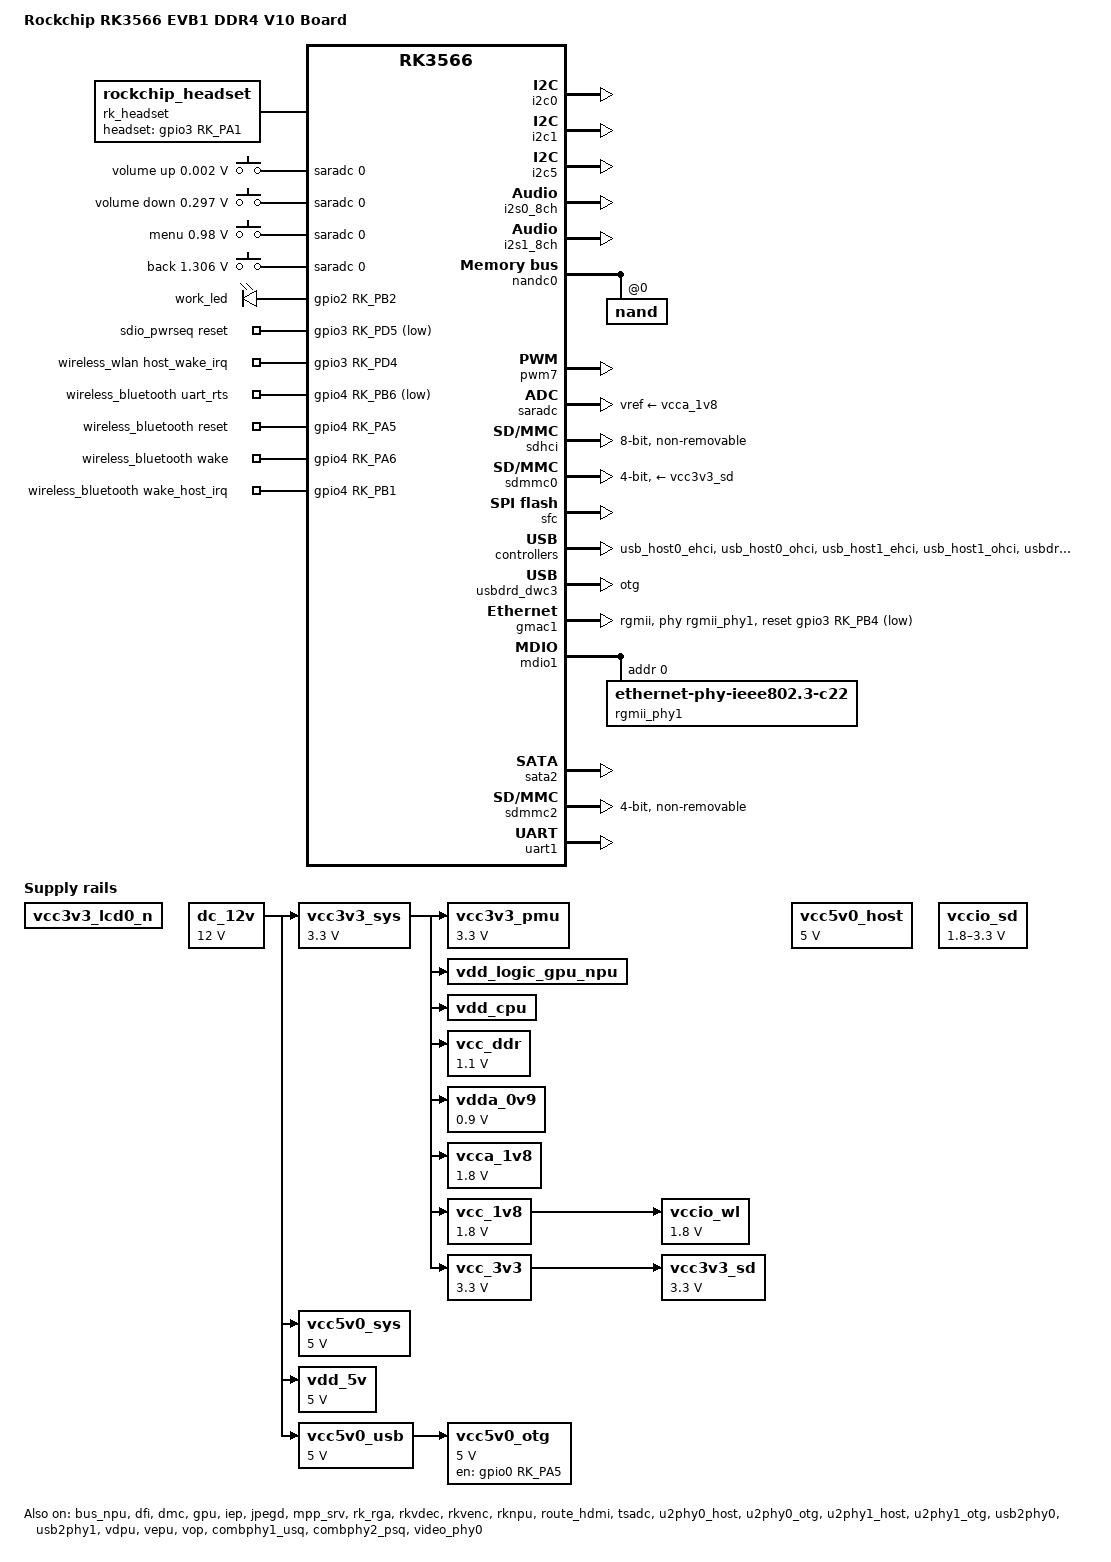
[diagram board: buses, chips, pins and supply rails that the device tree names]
/**
 * configure regulators that for not use rk809
 * 
 * most content of this file is from rk3566-evb1-ddr4-v10.dtsi
 */
 
/dts-v1/;

#include <dt-bindings/gpio/gpio.h>
#include <dt-bindings/pwm/pwm.h>
#include <dt-bindings/pinctrl/rockchip.h>
#include <dt-bindings/input/rk-input.h>
#include <dt-bindings/display/drm_mipi_dsi.h>
#include <dt-bindings/sensor-dev.h>
#include "rk3566.dtsi"

/ {
	model = "Rockchip RK3566 EVB1 DDR4 V10 Board";
	compatible = "rockchip,rk3566-evb1-ddr4-v10", "rockchip,rk3566";

        rpdzkj:rpdzkj_config {
                compatible = "rp_config";
                user_version = "rpdzkj";
                system_rotate = "0";
								csi_camera_rotate = "0"; //all csi camera rotation //0 90 180 270 //no effect
								csi_camera_facing = "0"; //0:auto  1:all front   2:all back //no effect
								usb_camera_rotate = "0"; //all usb camera rotation //0 90 180 270 
								usb_camera_facing = "0"; //0:auto  1:all front   2:all back
                lcd_density = "160";
                language = "zh-CN";   //zh-CN //en-US
                time_zone = "Asia/Shanghai"; //Asia/Shanghai = +8   //Europe/London  = +1       //Africa/Casablanca     = +0;
                not_navigation_bar = "false";
                not_status_bar = "false";
                default_launcher = "true";
                has_root = "true";
                usb_not_permission = "true";
                gps_use = "false";
                gps_serial_port = "/dev/ttyS4";
                primary_device = "DSI";
                extend_device = "HDMI-A";
                extend_rotate = "0";
                rotation_efull = "false";
                home_apk = "null";
                status = "okay";
        };

/*
	vcc3v3_pcie: gpio-regulator {
		compatible = "regulator-fixed";
		regulator-name = "vcc3v3_pcie";
		regulator-min-microvolt = <3300000>;
		regulator-max-microvolt = <3300000>;
		enable-active-high;
		gpio = <&gpio0 RK_PB7 GPIO_ACTIVE_HIGH>;
		startup-delay-us = <5000>;
		vin-supply = <&dc_12v>;
	};
*/
	rk_headset: rk-headset {
		compatible = "rockchip_headset";
		headset_gpio = <&gpio3 RK_PA1 GPIO_ACTIVE_HIGH>;
		pinctrl-names = "default";
		pinctrl-0 = <&hp_det>;
	};
/*
	vcc3v3_vga: vcc3v3-vga {
		compatible = "regulator-fixed";
		regulator-name = "vcc3v3_vga";
		regulator-always-on;
		regulator-boot-on;
		gpio = <&gpio2 RK_PB1 GPIO_ACTIVE_HIGH>;
		enable-active-high;
		vin-supply = <&vcc3v3_sys>;
	};

	vcc_camera: vcc-camera-regulator {
		compatible = "regulator-fixed";
		gpio = <&gpio0 RK_PC1 GPIO_ACTIVE_HIGH>;
		pinctrl-names = "default";
		pinctrl-0 = <&camera_pwr>;
		regulator-name = "vcc_camera";
		enable-active-high;
		regulator-always-on;
		regulator-boot-on;
	};
*/

	vcc3v3_lcd0_n: vcc3v3-lcd0-n {
		compatible = "regulator-fixed";
		regulator-name = "vcc3v3_lcd0_n";
		regulator-boot-on;
		regulator-state-mem {
			regulator-off-in-suspend;
		};
	};


	/*** rk3568-evb.dtsi ***/
	adc_keys: adc-keys {
		compatible = "adc-keys";
		io-channels = <&saradc 0>;
		io-channel-names = "buttons";
		keyup-threshold-microvolt = <1800000>;
		poll-interval = <100>;

		vol-up-key {
			label = "volume up";
			linux,code = <KEY_VOLUMEUP>;
			press-threshold-microvolt = <1750>;
		};

		vol-down-key {
			label = "volume down";
			linux,code = <KEY_VOLUMEDOWN>;
			press-threshold-microvolt = <297500>;
		};

		menu-key {
			label = "menu";
			linux,code = <KEY_MENU>;
			press-threshold-microvolt = <980000>;
		};

		back-key {
			label = "back";
			linux,code = <KEY_BACK>;
			press-threshold-microvolt = <1305500>;
		};
	};

	audiopwmout_diff: audiopwmout-diff {
		status = "disabled";
		compatible = "simple-audio-card";
		simple-audio-card,format = "i2s";
		simple-audio-card,name = "rockchip,audiopwmout-diff";
		simple-audio-card,mclk-fs = <256>;
		simple-audio-card,bitclock-master = <&master>;
		simple-audio-card,frame-master = <&master>;
		simple-audio-card,cpu {
			sound-dai = <&i2s3_2ch>;
		};
		master: simple-audio-card,codec {
			sound-dai = <&dig_acodec>;
		};
	};



	dc_12v: dc-12v {
		compatible = "regulator-fixed";
		regulator-name = "dc_12v";
		regulator-always-on;
		regulator-boot-on;
		regulator-min-microvolt = <12000000>;
		regulator-max-microvolt = <12000000>;
	};

	hdmi_sound: hdmi-sound {
		compatible = "simple-audio-card";
		simple-audio-card,format = "i2s";
		simple-audio-card,mclk-fs = <128>;
		simple-audio-card,name = "rockchip,hdmi";
		status = "disabled";

		simple-audio-card,cpu {
				sound-dai = <&i2s0_8ch>;
		};
		simple-audio-card,codec {
				sound-dai = <&hdmi>;
		};
	};

	leds: leds {
		compatible = "gpio-leds";
		work_led: work {
			gpios = <&gpio0 RK_PC0 GPIO_ACTIVE_HIGH>;
			linux,default-trigger = "heartbeat";
		};
	};

	pdmics: dummy-codec {
		status = "disabled";
		compatible = "rockchip,dummy-codec";
		#sound-dai-cells = <0>;
	};

	pdm_mic_array: pdm-mic-array {
		status = "disabled";
		compatible = "simple-audio-card";
		simple-audio-card,name = "rockchip,pdm-mic-array";
		simple-audio-card,cpu {
			sound-dai = <&pdm>;
		};
		simple-audio-card,codec {
			sound-dai = <&pdmics>;
		};
	};

	spdif-sound {
		status = "disabled";
		compatible = "simple-audio-card";
		simple-audio-card,name = "ROCKCHIP,SPDIF";
		simple-audio-card,cpu {
				sound-dai = <&spdif_8ch>;
		};
		simple-audio-card,codec {
				sound-dai = <&spdif_out>;
		};
	};

	spdif_out: spdif-out {
			status = "disabled";
			compatible = "linux,spdif-dit";
			#sound-dai-cells = <0>;
	};

	vcc3v3_sys: vcc3v3-sys {
		compatible = "regulator-fixed";
		regulator-name = "vcc3v3_sys";
		regulator-always-on;
		regulator-boot-on;
		regulator-min-microvolt = <3300000>;
		regulator-max-microvolt = <3300000>;
		vin-supply = <&dc_12v>;
	};

	vcc5v0_sys: vcc5v0-sys {
		compatible = "regulator-fixed";
		regulator-name = "vcc5v0_sys";
		regulator-always-on;
		regulator-boot-on;
		regulator-min-microvolt = <5000000>;
		regulator-max-microvolt = <5000000>;
		vin-supply = <&dc_12v>;
	};

	vdd_5v: vdd_5v {
                compatible = "regulator-fixed";
                regulator-name = "vdd_5v";
                regulator-always-on;
                regulator-boot-on;
                regulator-min-microvolt = <5000000>;
                regulator-max-microvolt = <5000000>;
                vin-supply = <&dc_12v>;
        };

	vcc5v0_usb: vcc5v0-usb {
		compatible = "regulator-fixed";
		regulator-name = "vcc5v0_usb";
		regulator-always-on;
		regulator-boot-on;
		regulator-min-microvolt = <5000000>;
		regulator-max-microvolt = <5000000>;
		vin-supply = <&dc_12v>;
	};

	vcc5v0_host: vcc5v0-host-regulator {
		compatible = "regulator-fixed";
		regulator-name = "vcc5v0_host";
		regulator-boot-on;
		regulator-always-on;
		regulator-min-microvolt = <5000000>;
		regulator-max-microvolt = <5000000>;
		enable-active-high;
//		gpio = <&gpio0 RK_PA6 GPIO_ACTIVE_HIGH>;
		pinctrl-names = "default";
		pinctrl-0 = <&vcc5v0_host_en>;
	};

	mipi_dphy0: mipi_dphy0 {
		status = "disabled";
	};

        mipi_dphy1: mipi_dphy1 {
                status = "disabled";
        };

	vcc5v0_otg: vcc5v0-otg-regulator {
		compatible = "regulator-fixed";
		regulator-name = "vcc5v0_otg";
		regulator-min-microvolt = <5000000>;
		regulator-max-microvolt = <5000000>;
		enable-active-high;
		gpio = <&gpio0 RK_PA5 GPIO_ACTIVE_HIGH>;
		vin-supply = <&vcc5v0_usb>;
		pinctrl-names = "default";
		pinctrl-0 = <&vcc5v0_otg_en>;
		rockchip,vbus-always-on;
	};

	sdio_pwrseq: sdio-pwrseq {
		compatible = "mmc-pwrseq-simple";
		//clocks = <&rk809 1>;
		clock-names = "ext_clock";
		pinctrl-names = "default";
		pinctrl-0 = <&wifi_enable_h>;

		/*
		 * On the module itself this is one of these (depending
		 * on the actual card populated):
		 * - SDIO_RESET_L_WL_REG_ON
		 * - PDN (power down when low)
		 */
		post-power-on-delay-ms = <200>;
		reset-gpios = <&gpio3 RK_PD5 GPIO_ACTIVE_LOW>;
	};

	wireless_wlan: wireless-wlan {
		compatible = "wlan-platdata";
		rockchip,grf = <&grf>;
		wifi_chip_type = "ap6398s";
		status = "okay";
	};

	wireless_bluetooth: wireless-bluetooth {
		compatible = "bluetooth-platdata";
		//clocks = <&rk809 1>;
		clock-names = "ext_clock";
		//wifi-bt-power-toggle;
		uart_rts_gpios = <&gpio2 RK_PB1 GPIO_ACTIVE_LOW>;
		pinctrl-names = "default", "rts_gpio";
		pinctrl-0 = <&uart8m0_rtsn>;
		pinctrl-1 = <&uart8_gpios>;
		BT,reset_gpio    = <&gpio3 RK_PA0 GPIO_ACTIVE_HIGH>;
		BT,wake_gpio     = <&gpio3 RK_PA1 GPIO_ACTIVE_HIGH>;
		BT,wake_host_irq = <&gpio3 RK_PA2 GPIO_ACTIVE_HIGH>;
		status = "okay";
	};

	test-power {
		status = "okay";
	};
	
    /**
     * configuration of regulator that no rk809
     */
	vcc3v3_pmu: vcc3v3-pmu {
		compatible = "regulator-fixed";
		regulator-name = "vcc3v3_pmu";
		regulator-always-on;
		regulator-boot-on;
		regulator-min-microvolt = <3300000>;
		regulator-max-microvolt = <3300000>;
		vin-supply = <&vcc3v3_sys>;
       		regulator-state-mem {
            		regulator-on-in-suspend;
        	};
	};

	vdd_logic_gpu_npu: vdd-logic_gpu_npu {
		compatible = "pwm-regulator";
		regulator-always-on;
		regulator-boot-on;
		regulator-name = "vdd_logic_gpu_npu";
		pwm-supply = <&vcc3v3_sys>;
		regulator-state-mem {
		    regulator-off-in-suspend;
		};
	};

	vdd_cpu: vdd-cpu {
                compatible = "pwm-regulator";
                regulator-always-on;
                regulator-boot-on;
                regulator-name = "vdd_cpu";
                pwm-supply = <&vcc3v3_sys>;
                regulator-state-mem {
                    regulator-off-in-suspend;
                };
        };
	
	vcc_ddr: vcc-ddr {
		compatible = "regulator-fixed";
		regulator-name = "vcc_ddr";
		regulator-always-on;
		regulator-boot-on;
		regulator-min-microvolt = <1100000>;
		regulator-max-microvolt = <1100000>;
		vin-supply = <&vcc3v3_sys>;
        	regulator-state-mem {
            		regulator-on-in-suspend;
        	};
	};

	vdda_0v9: vdda-0v9 {
		compatible = "regulator-fixed";
		regulator-name = "vdda_0v9";
		regulator-always-on;
		regulator-boot-on;
		regulator-min-microvolt = <900000>;
		regulator-max-microvolt = <900000>;
		vin-supply = <&vcc3v3_sys>;
		regulator-state-mem {
		    regulator-off-in-suspend;
		};
	};

	vccio_sd: vccio-sd-regulator {
                compatible = "regulator-gpio";
                regulator-name = "vccio_sd";
                regulator-min-microvolt = <1800000>;
                regulator-max-microvolt = <3300000>;
                gpios = <&gpio0 RK_PB0 GPIO_ACTIVE_HIGH>;
                gpios-states = <0x1>;
                states = <1800000 0x0
                          3300000 0x1>;
        };

	vcca_1v8: vcca-1v8 {
		compatible = "regulator-fixed";
		regulator-name = "vcca_1v8";
		regulator-always-on;
		regulator-boot-on;
		regulator-min-microvolt = <1800000>;
		regulator-max-microvolt = <1800000>;
		vin-supply = <&vcc3v3_sys>;
	        regulator-state-mem {
	            regulator-off-in-suspend;
	        };
	};

	vcc_1v8: vcc-1v8 {
		compatible = "regulator-fixed";
		regulator-name = "vcc_1v8";
		regulator-always-on;
		regulator-boot-on;
		regulator-min-microvolt = <1800000>;
		regulator-max-microvolt = <1800000>;
		vin-supply = <&vcc3v3_sys>;
		regulator-state-mem {
		    regulator-off-in-suspend;
		};
	};

	vcc_3v3: vcc-3v3 {
		compatible = "regulator-fixed";
		regulator-name = "vcc_3v3";
		regulator-always-on;
		regulator-boot-on;
		regulator-min-microvolt = <3300000>;
		regulator-max-microvolt = <3300000>;
		vin-supply = <&vcc3v3_sys>;
		regulator-state-mem {
		    regulator-off-in-suspend;
		};
	};
		
	vcc3v3_sd: vcc3v3_sd {
		compatible = "regulator-fixed";
                regulator-name = "vcc_3v3";
                regulator-always-on;
                regulator-boot-on;
                regulator-min-microvolt = <3300000>;
                regulator-max-microvolt = <3300000>;
                vin-supply = <&vcc_3v3>;
                regulator-state-mem {
                    regulator-off-in-suspend;
                };
	};

	vccio_wl: vccio_wl{
		compatible = "regulator-fixed";
		regulator-name = "vccio_wl";
		regulator-always-on;
                regulator-boot-on;
		regulator-min-microvolt = <1800000>;
                regulator-max-microvolt = <1800000>;
                vin-supply = <&vcc_1v8>;
                regulator-state-mem {
                        regulator-off-in-suspend;
                };
	};
};

&bus_npu {
	bus-supply = <&vdd_logic_gpu_npu>;
	pvtm-supply = <&vdd_cpu>;
	status = "okay";
};

&can0 {
	assigned-clocks = <&cru CLK_CAN0>;
	assigned-clock-rates = <150000000>;
	pinctrl-names = "default";
	pinctrl-0 = <&can0m1_pins>;
	status = "disabled";
};

&can1 {
	assigned-clocks = <&cru CLK_CAN1>;
	assigned-clock-rates = <150000000>;
	pinctrl-names = "default";
	pinctrl-0 = <&can1m1_pins>;
	status = "disabled";
};

&can2 {
	assigned-clocks = <&cru CLK_CAN2>;
	assigned-clock-rates = <150000000>;
	pinctrl-names = "default";
	pinctrl-0 = <&can2m1_pins>;
	status = "disabled";
};

&cpu0 {
	cpu-supply = <&vdd_cpu>;
};

&dfi {
	status = "okay";
};

&dmc {
	center-supply = <&vdd_logic_gpu_npu>;
	status = "okay";
};



&gpu {
	mali-supply = <&vdd_logic_gpu_npu>;
	status = "okay";
};


&i2c0 {
	status = "okay";
/*
	vdd_cpu: tcs4525@1c {
		compatible = "tcs,tcs452x";
		reg = <0x1c>;
		vin-supply = <&vcc5v0_sys>;
		regulator-compatible = "fan53555-reg";
		regulator-name = "vdd_cpu";
		regulator-min-microvolt = <712500>;
		regulator-max-microvolt = <1390000>;
		regulator-init-microvolt = <900000>;
		regulator-ramp-delay = <2300>;
		fcs,suspend-voltage-selector = <1>;
		regulator-boot-on;
		regulator-always-on;
		regulator-state-mem {
			regulator-off-in-suspend;
		};
	};
*/
};

&i2c1 {
	status = "okay";

	/*gt1x: gt1x@14 {
		compatible = "goodix,gt1x";
		reg = <0x14>;
		pinctrl-names = "default";
		pinctrl-0 = <&touch_gpio>;
		goodix,rst-gpio = <&gpio0 RK_PB6 GPIO_ACTIVE_HIGH>;
		goodix,irq-gpio = <&gpio0 RK_PB5 IRQ_TYPE_LEVEL_LOW>;
	};*/
};

&i2c5 {
	status = "okay";
/*
	mxc6655xa: mxc6655xa@15 {
		status = "okay";
		compatible = "gs_mxc6655xa";
		pinctrl-names = "default";
		pinctrl-0 = <&mxc6655xa_irq_gpio>;
		reg = <0x15>;
		irq-gpio = <&gpio3 RK_PC1 IRQ_TYPE_LEVEL_LOW>;
		irq_enable = <0>;
		poll_delay_ms = <30>;
		type = <SENSOR_TYPE_ACCEL>;
		power-off-in-suspend = <1>;
		layout = <1>;
	};
*/
};

&i2s0_8ch {
	status = "okay";
};

&i2s1_8ch {
	status = "okay";
	rockchip,clk-trcm = <1>;
	pinctrl-names = "default";
	pinctrl-0 = <&i2s1m0_sclktx
		     &i2s1m0_lrcktx
		     &i2s1m0_sdi0
		     &i2s1m0_sdo0>;
};

&iep {
	status = "okay";
};

&iep_mmu {
	status = "okay";
};

&jpegd {
	status = "okay";
};

&jpegd_mmu {
	status = "okay";
};

&mpp_srv {
	status = "okay";
};

&nandc0 {
	#address-cells = <1>;
	#size-cells = <0>;
	status = "okay";

	nand@0 {
		reg = <0>;
		nand-bus-width = <8>;
		nand-ecc-mode = "hw";
		nand-ecc-strength = <16>;
		nand-ecc-step-size = <1024>;
	};
};

&pinctrl {

	mxc6655xa {
		mxc6655xa_irq_gpio: mxc6655xa_irq_gpio {
			rockchip,pins = <3 RK_PC1 RK_FUNC_GPIO &pcfg_pull_none>;
		};
	};

	pmic {
		pmic_int: pmic_int {
			rockchip,pins =
				<0 RK_PA3 RK_FUNC_GPIO &pcfg_pull_up>;
		};

		soc_slppin_gpio: soc_slppin_gpio {
			rockchip,pins =
				<0 RK_PA2 RK_FUNC_GPIO &pcfg_output_low_pull_down>;
		};

		soc_slppin_slp: soc_slppin_slp {
			rockchip,pins =
				<0 RK_PA2 1 &pcfg_pull_up>;
		};

		soc_slppin_rst: soc_slppin_rst {
			rockchip,pins =
				<0 RK_PA2 2 &pcfg_pull_none>;
		};
	};

	touch {
		touch_gpio: touch-gpio {
			rockchip,pins =
				<0 RK_PB5 RK_FUNC_GPIO &pcfg_pull_up>,
				<0 RK_PB6 RK_FUNC_GPIO &pcfg_pull_none>;
		};
	};

	sdio-pwrseq {
		wifi_enable_h: wifi-enable-h {
			rockchip,pins = <3 RK_PD5 RK_FUNC_GPIO &pcfg_pull_none>;
		};
	};

	usb {
		vcc5v0_host_en: vcc5v0-host-en {
			rockchip,pins = <0 RK_PA6 RK_FUNC_GPIO &pcfg_pull_none>;
		};

		vcc5v0_otg_en: vcc5v0-otg-en {
			rockchip,pins = <0 RK_PA5 RK_FUNC_GPIO &pcfg_pull_none>;
		};
	};

	wireless-bluetooth {
		uart8_gpios: uart8-gpios {
			rockchip,pins = <2 RK_PB1 RK_FUNC_GPIO &pcfg_pull_none>;
		};
	};
};

 /*
  * There are 10 independent IO domains in RK3566/RK3568, including PMUIO[0:2] and VCCIO[1:7].
  * 1/ PMUIO0 and PMUIO1 are fixed-level power domains which cannot be configured;
  * 2/ PMUIO2 and VCCIO1,VCCIO[3:7] domains require that their hardware power supply voltages
  *    must be consistent with the software configuration correspondingly
  *	a/ When the hardware IO level is connected to 1.8V, the software voltage configuration
  *	   should also be configured to 1.8V accordingly;
  *	b/ When the hardware IO level is connected to 3.3V, the software voltage configuration
  *	   should also be configured to 3.3V accordingly;
  * 3/ VCCIO2 voltage control selection (0xFDC20140)
  *	BIT[0]: 0x0: from GPIO_0A7 (default)
  *	BIT[0]: 0x1: from GRF
  *    Default is determined by Pin FLASH_VOL_SEL/GPIO0_A7:
  *	L:VCCIO2 must supply 3.3V
  *	H:VCCIO2 must supply 1.8V
  */
&pmu_io_domains {
	status = "okay";
	pmuio2-supply = <&vcc3v3_pmu>;
	vccio1-supply = <&vccio_acodec>;
	vccio3-supply = <&vccio_sd>;
	vccio4-supply = <&vcc_3v3>;
	vccio5-supply = <&vcc_3v3>;
	vccio6-supply = <&vcc_3v3>;
	vccio7-supply = <&vcc_3v3>;
};


&pwm7 {
	status = "okay";

	compatible = "rockchip,remotectl-pwm";
	remote_pwm_id = <3>;
	handle_cpu_id = <1>;
	remote_support_psci = <0>;
	pinctrl-names = "default";
	pinctrl-0 = <&pwm7_pins>;

	ir_key1 {
		rockchip,usercode = <0x4040>;
		rockchip,key_table =
			<0xf2	KEY_REPLY>,
			<0xba	KEY_BACK>,
			<0xf4	KEY_UP>,
			<0xf1	KEY_DOWN>,
			<0xef	KEY_LEFT>,
			<0xee	KEY_RIGHT>,
			<0xbd	KEY_HOME>,
			<0xea	KEY_VOLUMEUP>,
			<0xe3	KEY_VOLUMEDOWN>,
			<0xe2	KEY_SEARCH>,
			<0xb2	KEY_POWER>,
			<0xbc	KEY_MUTE>,
			<0xec	KEY_MENU>,
			<0xbf	0x190>,
			<0xe0	0x191>,
			<0xe1	0x192>,
			<0xe9	183>,
			<0xe6	248>,
			<0xe8	185>,
			<0xe7	186>,
			<0xf0	388>,
			<0xbe	0x175>;
	};

	ir_key2 {
		rockchip,usercode = <0xff00>;
		rockchip,key_table =
			<0xf9	KEY_HOME>,
			<0xbf	KEY_BACK>,
			<0xfb	KEY_MENU>,
			<0xaa	KEY_REPLY>,
			<0xb9	KEY_UP>,
			<0xe9	KEY_DOWN>,
			<0xb8	KEY_LEFT>,
			<0xea	KEY_RIGHT>,
			<0xeb	KEY_VOLUMEDOWN>,
			<0xef	KEY_VOLUMEUP>,
			<0xf7	KEY_MUTE>,
			<0xe7	KEY_POWER>,
			<0xfc	KEY_POWER>,
			<0xa9	KEY_VOLUMEDOWN>,
			<0xa8	KEY_VOLUMEDOWN>,
			<0xe0	KEY_VOLUMEDOWN>,
			<0xa5	KEY_VOLUMEDOWN>,
			<0xab	183>,
			<0xb7	388>,
			<0xe8	388>,
			<0xf8	184>,
			<0xaf	185>,
			<0xed	KEY_VOLUMEDOWN>,
			<0xee	186>,
			<0xb3	KEY_VOLUMEDOWN>,
			<0xf1	KEY_VOLUMEDOWN>,
			<0xf2	KEY_VOLUMEDOWN>,
			<0xf3	KEY_SEARCH>,
			<0xb4	KEY_VOLUMEDOWN>,
			<0xbe	KEY_SEARCH>;
	};

	ir_key3 {
		rockchip,usercode = <0x1dcc>;
		rockchip,key_table =
			<0xee	KEY_REPLY>,
			<0xf0	KEY_BACK>,
			<0xf8	KEY_UP>,
			<0xbb	KEY_DOWN>,
			<0xef	KEY_LEFT>,
			<0xed	KEY_RIGHT>,
			<0xfc	KEY_HOME>,
			<0xf1	KEY_VOLUMEUP>,
			<0xfd	KEY_VOLUMEDOWN>,
			<0xb7	KEY_SEARCH>,
			<0xff	KEY_POWER>,
			<0xf3	KEY_MUTE>,
			<0xbf	KEY_MENU>,
			<0xf9	0x191>,
			<0xf5	0x192>,
			<0xb3	388>,
			<0xbe	KEY_1>,
			<0xba	KEY_2>,
			<0xb2	KEY_3>,
			<0xbd	KEY_4>,
			<0xf9	KEY_5>,
			<0xb1	KEY_6>,
			<0xfc	KEY_7>,
			<0xf8	KEY_8>,
			<0xb0	KEY_9>,
			<0xb6	KEY_0>,
			<0xb5	KEY_BACKSPACE>;
	};
};

&rk_rga {
	status = "okay";
};

&rkvdec {
	status = "okay";
};

&rkvdec_mmu {
	status = "okay";
};

&rkvenc {
	venc-supply = <&vdd_logic_gpu_npu>;
	status = "okay";
};

&rkvenc_mmu {
	status = "okay";
};

&rknpu {
	rknpu-supply = <&vdd_logic_gpu_npu>;
	status = "okay";
};

&rknpu_mmu {
	status = "okay";
};

&route_hdmi {
	status = "okay";
	connect = <&vp0_out_hdmi>;
};

&saradc {
	status = "okay";
	vref-supply = <&vcca_1v8>;
};

&sdhci {
	bus-width = <8>;
	supports-emmc;
	non-removable;
	max-frequency = <200000000>;
	status = "okay";
};

&sdmmc0 {
	max-frequency = <150000000>;
	supports-sd;
	bus-width = <4>;
	cap-mmc-highspeed;
	cap-sd-highspeed;
	disable-wp;
	sd-uhs-sdr104;
	vmmc-supply = <&vcc3v3_sd>;
	vqmmc-supply = <&vccio_sd>;
	pinctrl-names = "default";
	pinctrl-0 = <&sdmmc0_bus4 &sdmmc0_clk &sdmmc0_cmd &sdmmc0_det>;
	status = "okay";
};

&sfc {
	status = "okay";
};

&spdif_8ch {
	status = "disabled";
};

&tsadc {
	status = "okay";
};

&u2phy0_host {
	phy-supply = <&vcc5v0_host>;
	status = "okay";
};

&u2phy0_otg {
	vbus-supply = <&vcc5v0_otg>;
	status = "okay";
};

&u2phy1_host {
	phy-supply = <&vcc5v0_host>;
	status = "okay";
};

&u2phy1_otg {
	phy-supply = <&vcc5v0_host>;
	status = "okay";
};

&usb2phy0 {
	status = "okay";
};

&usb2phy1 {
	status = "okay";
};

&usb_host0_ehci {
	status = "okay";
};

&usb_host0_ohci {
	status = "okay";
};

&usb_host1_ehci {
	status = "okay";
};

&usb_host1_ohci {
	status = "okay";
};

&usbdrd_dwc3 {
	dr_mode = "otg";
	extcon = <&usb2phy0>;
	status = "okay";
};

&usbdrd30 {
	status = "okay";
};

&usbhost_dwc3 {
	status = "okay";
};

&usbhost30 {
	status = "okay";
};

&vad {
	rockchip,audio-src = <&i2s1_8ch>;
	rockchip,buffer-time-ms = <128>;
	rockchip,det-channel = <0>;
	rockchip,mode = <0>;
};

&vdpu {
	status = "okay";
};

&vdpu_mmu {
	status = "okay";
};

&vepu {
	status = "okay";
};

&vepu_mmu {
	status = "okay";
};

&vop {
	status = "okay";
	assigned-clocks = <&cru DCLK_VOP0>, <&cru DCLK_VOP1>;
	assigned-clock-parents = <&pmucru PLL_HPLL>, <&cru PLL_VPLL>;
};

&vop_mmu {
	status = "okay";
};
 
&audiopwmout_diff {
	status = "disabled";
};

&combphy1_usq {
	status = "okay";
};

&combphy2_psq {
	status = "okay";
};
/*
&csi2_dphy_hw {
	status = "okay";
};

&csi2_dphy1 {
	status = "okay";

	//
	 // dphy1 only used for split mode,
	 // can be used  concurrently  with dphy2
	 // full mode and split mode are mutually exclusive
	 //
	ports {
		#address-cells = <1>;
		#size-cells = <0>;

		port@0 {
			reg = <0>;
			#address-cells = <1>;
			#size-cells = <0>;

			dphy1_in: endpoint@1 {
				reg = <1>;
				remote-endpoint = <&ov5695_out>;
				data-lanes = <1 2>;
			};
		};

		port@1 {
			reg = <1>;
			#address-cells = <1>;
			#size-cells = <0>;

			dphy1_out: endpoint@1 {
				reg = <1>;
				remote-endpoint = <&isp0_in>;
			};
		};
	};
};

&csi2_dphy2 {
	status = "okay";

	//
	 // dphy2 only used for split mode,
	// can be used  concurrently  with dphy1
	// full mode and split mode are mutually exclusive
	 //
	ports {
		#address-cells = <1>;
		#size-cells = <0>;

		port@0 {
			reg = <0>;
			#address-cells = <1>;
			#size-cells = <0>;

			dphy2_in: endpoint@1 {
				reg = <1>;
				remote-endpoint = <&ov02k10_out>;
				data-lanes = <1 2>;
			};
		};

		port@1 {
			reg = <1>;
			#address-cells = <1>;
			#size-cells = <0>;

			dphy2_out: endpoint@1 {
				reg = <1>;
				remote-endpoint = <&mipi_csi2_input>;
			};
		};
	};
};
*/

&dig_acodec {
	status = "disabled";
	rockchip,pwm-output-mode;
	pinctrl-names = "default";
	pinctrl-0 = <&audiopwm_loutp
		&audiopwm_loutn
		&audiopwm_routp
		&audiopwm_routn
	>;
};


&gmac1 {
        phy-mode = "rgmii";
        clock_in_out = "input";

        snps,reset-gpio = <&gpio3 RK_PB4 GPIO_ACTIVE_LOW>;
        snps,reset-active-low;
        /* Reset time is 20ms, 100ms for rtl8211f */
        snps,reset-delays-us = <0 20000 100000>;

        assigned-clocks = <&cru SCLK_GMAC1_RX_TX>, <&cru SCLK_GMAC1>, <&cru CLK_MAC1_OUT>;
        assigned-clock-parents = <&cru SCLK_GMAC1_RGMII_SPEED>,<&gmac1_clkin>;
        assigned-clock-rates = <0>, <125000000>, <25000000>;

        pinctrl-names = "default";
        pinctrl-0 = <&gmac1m0_miim
                     &gmac1m0_tx_bus2
                     &gmac1m0_rx_bus2
                     &gmac1m0_rgmii_clk
                     &gmac1m0_rgmii_bus
                        &gmac1m0_clkinout
			&eth1m0_pins>;

        tx_delay = <0x3a>;
        rx_delay = <0x29>;
        phy-handle = <&rgmii_phy1>;
        status = "okay";
};

&mdio1 {
        rgmii_phy1: phy@0 {
                compatible = "ethernet-phy-ieee802.3-c22";
                reg = <0x0>;
		clocks = <&cru CLK_MAC1_OUT>;
        };
};


/*
 * power-supply should switche to vcc3v3_lcd1_n
 * when mipi panel is connected to dsi1.
 
&gt1x {
	power-supply = <&vcc3v3_lcd0_n>;
};
*/
/*
&i2c2 {
	status = "okay";
	pinctrl-names = "default";
	pinctrl-0 = <&i2c2m1_xfer>;

	// split mode: lane0/1
	ov5695: ov5695@36 {
		status = "okay";
		compatible = "ovti,ov5695";
		reg = <0x36>;
		clocks = <&cru CLK_CAM0_OUT>;
		clock-names = "xvclk";
		power-domains = <&power RK3568_PD_VI>;
		pinctrl-names = "default";
		pinctrl-0 = <&cam_clkout0>;
		reset-gpios = <&gpio4 RK_PC0 GPIO_ACTIVE_HIGH>;
		pwdn-gpios = <&gpio2 RK_PC5 GPIO_ACTIVE_HIGH>;
		//power-gpios = <&gpio0 RK_PC1 GPIO_ACTIVE_HIGH>;
		rockchip,camera-module-index = <0>;
		rockchip,camera-module-facing = "back";
		rockchip,camera-module-name = "TongJu";
		rockchip,camera-module-lens-name = "CHT842-MD";
		port {
			ov5695_out: endpoint {
				remote-endpoint = <&dphy1_in>;
				data-lanes = <1 2>;
			};
		};
	};

	ov02k10: ov02k10@36 {
		status = "okay";
		compatible = "ovti,ov02k10";
		reg = <0x36>;
		clocks = <&cru CLK_CAM1_OUT>;
		clock-names = "xvclk";
		pinctrl-names = "default";
		pinctrl-0 = <&cam_clkout1>;
		reset-gpios = <&gpio3 RK_PB0 GPIO_ACTIVE_HIGH>;
		pwdn-gpios = <&gpio2 RK_PC6 GPIO_ACTIVE_HIGH>;
		power-gpios = <&gpio0 RK_PC1 GPIO_ACTIVE_HIGH>;
		rockchip,camera-module-index = <0>;
		rockchip,camera-module-facing = "back";
		rockchip,camera-module-name = "TongJu";
		rockchip,camera-module-lens-name = "CHT842-MD";
		port {
			ov02k10_out: endpoint {
				remote-endpoint = <&dphy2_in>;
				data-lanes = <1 2>;
			};
		};
	};
};


&i2s3_2ch {
	status = "disabled";
};

&mipi_csi2 {
	status = "okay";

	ports {
		#address-cells = <1>;
		#size-cells = <0>;

		port@0 {
			reg = <0>;
			#address-cells = <1>;
			#size-cells = <0>;

			mipi_csi2_input: endpoint@1 {
				reg = <1>;
				remote-endpoint = <&dphy2_out>;
				data-lanes = <1 2>;
			};
		};

		port@1 {
			reg = <1>;
			#address-cells = <1>;
			#size-cells = <0>;

			mipi_csi2_output: endpoint@0 {
				reg = <0>;
				remote-endpoint = <&cif_mipi_in>;
				data-lanes = <1 2>;
			};
		};
	};
};

*/
&video_phy0 {
	status = "okay";
};

&video_phy1 {
	status = "disabled";
};

&pcie2x1 {
	reset-gpios = <&gpio1 RK_PB2 GPIO_ACTIVE_HIGH>;
	//vpcie3v3-supply = <&vcc3v3_pcie>;
	status = "disabled";
};

&sata2 {
	status = "okay";
};

&pdm {
	status = "disabled";
	pinctrl-names = "default";
	pinctrl-0 = <&pdmm1_clk1
		     &pdmm1_sdi1
		     &pdmm1_sdi2
		     &pdmm1_sdi3>;
};

&pdmics {
	status = "disabled";
};

&pdm_mic_array {
	status = "disabled";
};
/*
&rkcif {
	status = "okay";
};

&rkcif_mipi_lvds {
	status = "okay";

	port {
		cif_mipi_in: endpoint {
			remote-endpoint = <&mipi_csi2_output>;
			data-lanes = <1 2>;
		};
	};
};

&rkcif_mmu {
	status = "okay";
};

&rkisp {
	status = "okay";
};

&rkisp_mmu {
	status = "okay";
};

&rkisp_vir0 {
	status = "okay";

	port {
		#address-cells = <1>;
		#size-cells = <0>;

		isp0_in: endpoint@0 {
			reg = <0>;
			remote-endpoint = <&dphy1_out>;
		};
	};
};

*/

&sdmmc2 {
	max-frequency = <150000000>;
	supports-sdio;
	bus-width = <4>;
	disable-wp;
	cap-sd-highspeed;
	cap-sdio-irq;
	keep-power-in-suspend;
	mmc-pwrseq = <&sdio_pwrseq>;
	non-removable;
	pinctrl-names = "default";
	pinctrl-0 = <&sdmmc2m0_bus4 &sdmmc2m0_cmd &sdmmc2m0_clk>;
	sd-uhs-sdr104;
	status = "okay";
};

&uart1 {
	status = "okay";
	pinctrl-names = "default";
	pinctrl-0 = <&uart1m1_xfer &uart1m1_ctsn>;
};



&wireless_bluetooth {
	uart_rts_gpios = <&gpio4 RK_PB6 GPIO_ACTIVE_LOW>;
	pinctrl-names = "default", "rts_gpio";
	pinctrl-0 = <&uart1m1_rtsn>;
	pinctrl-1 = <&uart1_gpios>;
	BT,reset_gpio    = <&gpio4 RK_PA5 GPIO_ACTIVE_HIGH>;
	BT,wake_gpio     = <&gpio4 RK_PA6 GPIO_ACTIVE_HIGH>;
	BT,wake_host_irq = <&gpio4 RK_PB1 GPIO_ACTIVE_HIGH>;
	status = "okay";
};

&wireless_wlan {
	pinctrl-names = "default";
	pinctrl-0 = <&wifi_host_wake_irq>;
	WIFI,host_wake_irq = <&gpio3 RK_PD4 GPIO_ACTIVE_HIGH>;
};

&work_led {
	gpios = <&gpio2 RK_PB2 GPIO_ACTIVE_HIGH>;
};

&pinctrl {
	cam {
		camera_pwr: camera-pwr {
			rockchip,pins =
				/* camera power en */
				<0 RK_PC1 RK_FUNC_GPIO &pcfg_pull_none>;
		};
	};

	headphone {
		hp_det: hp-det {
			rockchip,pins = <3 RK_PA1 RK_FUNC_GPIO &pcfg_pull_down>;
		};
	};

	wireless-wlan {
		wifi_host_wake_irq: wifi-host-wake-irq {
			rockchip,pins = <3 RK_PD4 RK_FUNC_GPIO &pcfg_pull_down>;
		};
	};

	wireless-bluetooth {
		uart1_gpios: uart1-gpios {
			rockchip,pins = <4 RK_PB6 RK_FUNC_GPIO &pcfg_pull_none>;
		};
	};
};
